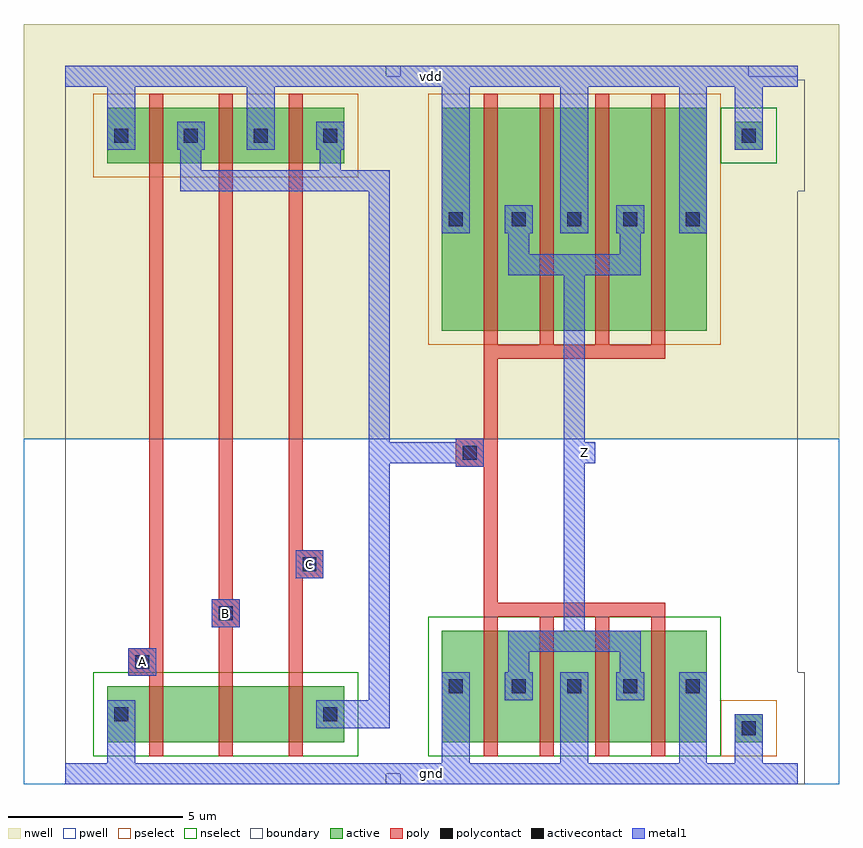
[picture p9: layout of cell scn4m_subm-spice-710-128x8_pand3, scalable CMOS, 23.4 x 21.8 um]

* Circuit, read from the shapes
.subckt scn4m_subm-spice-710-128x8_pand3 A B C Z gnd vdd
M1 scn4m_subm-spice-710-128x8_pnand3_0_0/scn4m_subm-spice-710-128x8_nmos_m1_w1_600_sm1_dactive_3/D A gnd gnd nfet w=1.6u l=0.4u
M2 scn4m_subm-spice-710-128x8_pnand3_0_0/scn4m_subm-spice-710-128x8_nmos_m1_w1_600_sactive_dactive_4/D B scn4m_subm-spice-710-128x8_pnand3_0_0/scn4m_subm-spice-710-128x8_nmos_m1_w1_600_sm1_dactive_3/D gnd nfet w=1.6u l=0.4u
M3 scn4m_subm-spice-710-128x8_pdriver_3_1/A C scn4m_subm-spice-710-128x8_pnand3_0_0/scn4m_subm-spice-710-128x8_nmos_m1_w1_600_sactive_dactive_4/D gnd nfet w=1.6u l=0.4u
M4 Z scn4m_subm-spice-710-128x8_pdriver_3_1/A gnd gnd nfet w=3.2u l=0.4u m=4
M5 scn4m_subm-spice-710-128x8_pdriver_3_1/A A vdd vdd pfet w=1.6u l=0.4u
M6 vdd B scn4m_subm-spice-710-128x8_pdriver_3_1/A vdd pfet w=1.6u l=0.4u
M7 scn4m_subm-spice-710-128x8_pdriver_3_1/A C vdd vdd pfet w=1.6u l=0.4u
M8 Z scn4m_subm-spice-710-128x8_pdriver_3_1/A vdd vdd pfet w=6.4u l=0.4u m=4
.ends

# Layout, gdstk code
import gdstk
lib = gdstk.Library(unit=1e-6, precision=1e-09)
def R(c, l, rs):  # rectangles x0, y0, x1, y1
    for r in rs: c.add(gdstk.rectangle(r[:2], r[2:], *l))
def A(c, l, x, y, w, h, nx, ny, dx, dy):  # array of equal rectangles
    R(c, l, [(x+i*dx, y+j*dy, x+i*dx+w, y+j*dy+h) for i in range(nx) for j in range(ny)])
pwell = (41, 0)
nwell = (42, 0)
active = (43, 0)
pselect = (44, 0)
nselect = (45, 0)
poly = (46, 0)
polycontact = (47, 0)
activecontact = (48, 0)
metal1 = (49, 0)
boundary = (63, 0)

scn4m_subm_spice_710_128 = lib.new_cell('scn4m_subm-spice-710-128x8_contact_12')
R(scn4m_subm_spice_710_128, nwell, [(-1.2,-1.2,2,2)])
R(scn4m_subm_spice_710_128, active, [(0,0,0.8,0.8)])
R(scn4m_subm_spice_710_128, pselect, [(-0.4,-0.4,1.2,1.2)])
R(scn4m_subm_spice_710_128, activecontact, [(0.2,0.2,0.6,0.6)])
R(scn4m_subm_spice_710_128, metal1, [(0,0,0.8,0.8)])
R(scn4m_subm_spice_710_128, boundary, [(-1.2,-1.2,2,2)])

c_scn4m_subm_spice_710_128 = lib.new_cell('scn4m_subm-spice-710-128x8_pmos_m1_w1_600_sm1_dm1')
R(c_scn4m_subm_spice_710_128, nwell, [(-1.2,-1.2,4,2.8)])
R(c_scn4m_subm_spice_710_128, active, [(0,0,2.8,1.6)])
R(c_scn4m_subm_spice_710_128, pselect, [(-0.4,-0.4,3.2,2)])
R(c_scn4m_subm_spice_710_128, poly, [(1.2,-0.4,1.6,2), (1.2,-0.4,1.6,2)])
R(c_scn4m_subm_spice_710_128, metal1, [(0,0.4,0.8,1.2), (2,0.4,2.8,1.2)])
R(c_scn4m_subm_spice_710_128, boundary, [(-1.2,-1.2,4,2.8)])
c_scn4m_subm_spice_710_128.add(gdstk.Reference(scn4m_subm_spice_710_128, (0,0.4)))
c_scn4m_subm_spice_710_128.add(gdstk.Reference(scn4m_subm_spice_710_128, (2,0.4)))
c_scn4m_subm_spice_710_128.add(gdstk.Label('G', (1.4,0.8), layer=46, texttype=0))
c_scn4m_subm_spice_710_128.add(gdstk.Label('S', (0.4,0.8), layer=49, texttype=0))
c_scn4m_subm_spice_710_128.add(gdstk.Label('D', (2.4,0.8), layer=49, texttype=0))

c_scn4m_subm_spice_710_128_ = lib.new_cell('scn4m_subm-spice-710-128x8_contact_11')
R(c_scn4m_subm_spice_710_128_, pwell, [(-1.2,-1.2,2,2)])
R(c_scn4m_subm_spice_710_128_, active, [(0,0,0.8,0.8)])
R(c_scn4m_subm_spice_710_128_, nselect, [(-0.4,-0.4,1.2,1.2)])
R(c_scn4m_subm_spice_710_128_, activecontact, [(0.2,0.2,0.6,0.6)])
R(c_scn4m_subm_spice_710_128_, metal1, [(0,0,0.8,0.8)])
R(c_scn4m_subm_spice_710_128_, boundary, [(-1.2,-1.2,2,2)])

c_scn4m_subm_spice_710_128__ = lib.new_cell('scn4m_subm-spice-710-128x8_nmos_m1_w1_600_sm1_dactive')
R(c_scn4m_subm_spice_710_128__, pwell, [(-1.2,-1.2,4,2.8)])
R(c_scn4m_subm_spice_710_128__, active, [(0,0,2.8,1.6), (2.1,0.5,2.7,1.1)])
R(c_scn4m_subm_spice_710_128__, nselect, [(-0.4,-0.4,3.2,2)])
R(c_scn4m_subm_spice_710_128__, poly, [(1.2,-0.4,1.6,2), (1.2,-0.4,1.6,2)])
R(c_scn4m_subm_spice_710_128__, metal1, [(0,0.4,0.8,1.2)])
R(c_scn4m_subm_spice_710_128__, boundary, [(-1.2,-1.2,4,2.8)])
c_scn4m_subm_spice_710_128__.add(gdstk.Reference(c_scn4m_subm_spice_710_128_, (0,0.4)))
c_scn4m_subm_spice_710_128__.add(gdstk.Label('G', (1.4,0.8), layer=46, texttype=0))
c_scn4m_subm_spice_710_128__.add(gdstk.Label('S', (0.4,0.8), layer=49, texttype=0))
c_scn4m_subm_spice_710_128__.add(gdstk.Label('D', (2.4,0.8), layer=43, texttype=0))

c_scn4m_subm_spice_710_128___ = lib.new_cell('scn4m_subm-spice-710-128x8_nmos_m1_w1_600_sactive_dactive')
R(c_scn4m_subm_spice_710_128___, pwell, [(-1.2,-1.2,4,2.8)])
R(c_scn4m_subm_spice_710_128___, active, [(0,0,2.8,1.6), (0.1,0.5,0.7,1.1), (2.1,0.5,2.7,1.1)])
R(c_scn4m_subm_spice_710_128___, nselect, [(-0.4,-0.4,3.2,2)])
R(c_scn4m_subm_spice_710_128___, poly, [(1.2,-0.4,1.6,2), (1.2,-0.4,1.6,2)])
R(c_scn4m_subm_spice_710_128___, boundary, [(-1.2,-1.2,4,2.8)])
c_scn4m_subm_spice_710_128___.add(gdstk.Label('G', (1.4,0.8), layer=46, texttype=0))
c_scn4m_subm_spice_710_128___.add(gdstk.Label('S', (0.4,0.8), layer=43, texttype=0))
c_scn4m_subm_spice_710_128___.add(gdstk.Label('D', (2.4,0.8), layer=43, texttype=0))

c_scn4m_subm_spice_710_128____ = lib.new_cell('scn4m_subm-spice-710-128x8_nmos_m1_w1_600_sactive_dm1')
R(c_scn4m_subm_spice_710_128____, pwell, [(-1.2,-1.2,4,2.8)])
R(c_scn4m_subm_spice_710_128____, active, [(0,0,2.8,1.6), (0.1,0.5,0.7,1.1)])
R(c_scn4m_subm_spice_710_128____, nselect, [(-0.4,-0.4,3.2,2)])
R(c_scn4m_subm_spice_710_128____, poly, [(1.2,-0.4,1.6,2), (1.2,-0.4,1.6,2)])
R(c_scn4m_subm_spice_710_128____, metal1, [(2,0.4,2.8,1.2)])
R(c_scn4m_subm_spice_710_128____, boundary, [(-1.2,-1.2,4,2.8)])
c_scn4m_subm_spice_710_128____.add(gdstk.Reference(c_scn4m_subm_spice_710_128_, (2,0.4)))
c_scn4m_subm_spice_710_128____.add(gdstk.Label('G', (1.4,0.8), layer=46, texttype=0))
c_scn4m_subm_spice_710_128____.add(gdstk.Label('S', (0.4,0.8), layer=43, texttype=0))
c_scn4m_subm_spice_710_128____.add(gdstk.Label('D', (2.4,0.8), layer=49, texttype=0))

c_scn4m_subm_spice_710_128_____ = lib.new_cell('scn4m_subm-spice-710-128x8_contact_15')
R(c_scn4m_subm_spice_710_128_____, poly, [(0,0,0.8,0.8)])
R(c_scn4m_subm_spice_710_128_____, polycontact, [(0.2,0.2,0.6,0.6)])
R(c_scn4m_subm_spice_710_128_____, metal1, [(0,0,0.8,0.8)])
R(c_scn4m_subm_spice_710_128_____, boundary, [(0,0,0.8,0.8)])

c_scn4m_subm_spice_710_128______ = lib.new_cell('scn4m_subm-spice-710-128x8_pnand3_0')
R(c_scn4m_subm_spice_710_128______, pwell, [(-1.2,-0.3,10.8,9.6)])
R(c_scn4m_subm_spice_710_128______, nwell, [(-1.2,9.6,10.8,21.5)])
A(c_scn4m_subm_spice_710_128______, poly, 2.4, 2.9, 0.4, 14.2, 3, 1, 2, 0)
R(c_scn4m_subm_spice_710_128______, poly, [(2.2,2.8,2.4,3.6), (4.4,4.2,4.6,5), (6.4,5.6,7,6.4)])
R(c_scn4m_subm_spice_710_128______, metal1, [(0,-0.3,9.6,0.3), (1.2,-0.3,2,1.3), (7.6,1.3,9,2.1), (8.7,1.3,9.3,17), (1.8,2.8,2.6,3.6), (4.2,4.2,5,5), (6.6,5.6,7.4,6.4), (3.3,16.7,3.9,17.3), (3.6,16.7,9,17.3), (7.3,16.7,7.9,17.3), (7.6,16.7,9,17.3), (8.7,16.7,9.3,17.3), (3.3,17,3.9,18.3), (7.3,17,7.9,18.3), (1.2,17.9,2,20.3), (5.2,17.9,6,20.3), (0,19.7,9.6,20.3)])
R(c_scn4m_subm_spice_710_128______, boundary, [(0,0,9.6,20), (0,0,9.6,20)])
c_scn4m_subm_spice_710_128______.add(gdstk.Reference(c_scn4m_subm_spice_710_128, (1.2,17.5)))
c_scn4m_subm_spice_710_128______.add(gdstk.Reference(c_scn4m_subm_spice_710_128, (3.2,17.5)))
c_scn4m_subm_spice_710_128______.add(gdstk.Reference(c_scn4m_subm_spice_710_128, (5.2,17.5)))
c_scn4m_subm_spice_710_128______.add(gdstk.Reference(c_scn4m_subm_spice_710_128__, (1.2,0.9)))
c_scn4m_subm_spice_710_128______.add(gdstk.Reference(c_scn4m_subm_spice_710_128___, (3.2,0.9)))
c_scn4m_subm_spice_710_128______.add(gdstk.Reference(c_scn4m_subm_spice_710_128____, (5.2,0.9)))
c_scn4m_subm_spice_710_128______.add(gdstk.Reference(c_scn4m_subm_spice_710_128_____, (1.8,2.8)))
c_scn4m_subm_spice_710_128______.add(gdstk.Reference(c_scn4m_subm_spice_710_128_____, (4.2,4.2)))
c_scn4m_subm_spice_710_128______.add(gdstk.Reference(c_scn4m_subm_spice_710_128_____, (6.6,5.6)))
c_scn4m_subm_spice_710_128______.add(gdstk.Label('A', (2.2,3.2), layer=49, texttype=0))
c_scn4m_subm_spice_710_128______.add(gdstk.Label('B', (4.6,4.6), layer=49, texttype=0))
c_scn4m_subm_spice_710_128______.add(gdstk.Label('C', (7,6), layer=49, texttype=0))
c_scn4m_subm_spice_710_128______.add(gdstk.Label('Z', (9,17), layer=49, texttype=0))
c_scn4m_subm_spice_710_128______.add(gdstk.Label('gnd', (4.8,0), layer=49, texttype=0))
c_scn4m_subm_spice_710_128______.add(gdstk.Label('vdd', (4.8,20), layer=49, texttype=0))

c_scn4m_subm_spice_710_128_______ = lib.new_cell('scn4m_subm-spice-710-128x8_pmos_m4_w6_400_sm1_dm1_da_p')
R(c_scn4m_subm_spice_710_128_______, nwell, [(-1.2,-1.2,8.8,7.6)])
R(c_scn4m_subm_spice_710_128_______, active, [(0,0,7.6,6.4)])
R(c_scn4m_subm_spice_710_128_______, pselect, [(-0.4,-0.4,8,6.8)])
A(c_scn4m_subm_spice_710_128_______, poly, 1.2, -0.4, 0.4, 7.2, 4, 1, 1.6, 0)
R(c_scn4m_subm_spice_710_128_______, poly, [(1.2,-0.8,6.4,-0.4)])
A(c_scn4m_subm_spice_710_128_______, metal1, 0, 2.8, 0.8, 0.8, 3, 1, 3.4, 0)
R(c_scn4m_subm_spice_710_128_______, metal1, [(1.9,1.6,5.7,2.2), (1.9,1.9,2.5,3.2), (5.1,1.9,5.7,3.2)])
R(c_scn4m_subm_spice_710_128_______, boundary, [(-1.2,-1.2,8.8,7.6)])
c_scn4m_subm_spice_710_128_______.add(gdstk.Reference(scn4m_subm_spice_710_128, (0,2.8)))
c_scn4m_subm_spice_710_128_______.add(gdstk.Reference(scn4m_subm_spice_710_128, (1.8,2.8)))
c_scn4m_subm_spice_710_128_______.add(gdstk.Reference(scn4m_subm_spice_710_128, (3.4,2.8)))
c_scn4m_subm_spice_710_128_______.add(gdstk.Reference(scn4m_subm_spice_710_128, (5,2.8)))
c_scn4m_subm_spice_710_128_______.add(gdstk.Reference(scn4m_subm_spice_710_128, (6.8,2.8)))
c_scn4m_subm_spice_710_128_______.add(gdstk.Label('G', (3.8,-0.6), layer=46, texttype=0))
c_scn4m_subm_spice_710_128_______.add(gdstk.Label('S', (0.4,3.2), layer=49, texttype=0))
c_scn4m_subm_spice_710_128_______.add(gdstk.Label('S', (3.8,3.2), layer=49, texttype=0))
c_scn4m_subm_spice_710_128_______.add(gdstk.Label('S', (7.2,3.2), layer=49, texttype=0))
c_scn4m_subm_spice_710_128_______.add(gdstk.Label('D', (3.8,1.9), layer=49, texttype=0))

c_scn4m_subm_spice_710_128________ = lib.new_cell('scn4m_subm-spice-710-128x8_nmos_m4_w3_200_sm1_dm1_da_p')
R(c_scn4m_subm_spice_710_128________, pwell, [(-1.2,-1.2,8.8,4.4)])
R(c_scn4m_subm_spice_710_128________, active, [(0,0,7.6,3.2)])
R(c_scn4m_subm_spice_710_128________, nselect, [(-0.4,-0.4,8,3.6)])
A(c_scn4m_subm_spice_710_128________, poly, 1.2, -0.4, 0.4, 4, 4, 1, 1.6, 0)
R(c_scn4m_subm_spice_710_128________, poly, [(1.2,3.6,6.4,4)])
A(c_scn4m_subm_spice_710_128________, metal1, 0, 1.2, 0.8, 0.8, 3, 1, 3.4, 0)
R(c_scn4m_subm_spice_710_128________, metal1, [(1.9,1.6,2.5,2.9), (5.1,1.6,5.7,2.9), (1.9,2.6,5.7,3.2)])
R(c_scn4m_subm_spice_710_128________, boundary, [(-1.2,-1.2,8.8,4.4)])
c_scn4m_subm_spice_710_128________.add(gdstk.Reference(c_scn4m_subm_spice_710_128_, (0,1.2)))
c_scn4m_subm_spice_710_128________.add(gdstk.Reference(c_scn4m_subm_spice_710_128_, (1.8,1.2)))
c_scn4m_subm_spice_710_128________.add(gdstk.Reference(c_scn4m_subm_spice_710_128_, (3.4,1.2)))
c_scn4m_subm_spice_710_128________.add(gdstk.Reference(c_scn4m_subm_spice_710_128_, (5,1.2)))
c_scn4m_subm_spice_710_128________.add(gdstk.Reference(c_scn4m_subm_spice_710_128_, (6.8,1.2)))
c_scn4m_subm_spice_710_128________.add(gdstk.Label('G', (3.8,3.8), layer=46, texttype=0))
c_scn4m_subm_spice_710_128________.add(gdstk.Label('S', (0.4,1.6), layer=49, texttype=0))
c_scn4m_subm_spice_710_128________.add(gdstk.Label('S', (7.2,1.6), layer=49, texttype=0))
c_scn4m_subm_spice_710_128________.add(gdstk.Label('S', (3.8,1.6), layer=49, texttype=0))
c_scn4m_subm_spice_710_128________.add(gdstk.Label('D', (3.8,2.9), layer=49, texttype=0))

c_scn4m_subm_spice_710_128_________ = lib.new_cell('scn4m_subm-spice-710-128x8_contact_13')
R(c_scn4m_subm_spice_710_128_________, nwell, [(-1.2,-1.2,2,2)])
R(c_scn4m_subm_spice_710_128_________, active, [(0,0,0.8,0.8)])
R(c_scn4m_subm_spice_710_128_________, nselect, [(-0.4,-0.4,1.2,1.2)])
R(c_scn4m_subm_spice_710_128_________, activecontact, [(0.2,0.2,0.6,0.6)])
R(c_scn4m_subm_spice_710_128_________, metal1, [(0,0,0.8,0.8)])
R(c_scn4m_subm_spice_710_128_________, boundary, [(-1.2,-1.2,2,2)])

c_scn4m_subm_spice_710_128__________ = lib.new_cell('scn4m_subm-spice-710-128x8_contact_14')
R(c_scn4m_subm_spice_710_128__________, pwell, [(-1.2,-1.2,2,2)])
R(c_scn4m_subm_spice_710_128__________, active, [(0,0,0.8,0.8)])
R(c_scn4m_subm_spice_710_128__________, pselect, [(-0.4,-0.4,1.2,1.2)])
R(c_scn4m_subm_spice_710_128__________, activecontact, [(0.2,0.2,0.6,0.6)])
R(c_scn4m_subm_spice_710_128__________, metal1, [(0,0,0.8,0.8)])
R(c_scn4m_subm_spice_710_128__________, boundary, [(-1.2,-1.2,2,2)])

c_scn4m_subm_spice_710_128___________ = lib.new_cell('scn4m_subm-spice-710-128x8_pinv_13')
R(c_scn4m_subm_spice_710_128___________, pwell, [(-1.2,-0.3,12.6,9.6)])
R(c_scn4m_subm_spice_710_128___________, nwell, [(-1.2,9.6,12.6,21.5)])
R(c_scn4m_subm_spice_710_128___________, poly, [(2.4,4.9,2.8,11.9), (2,8.8,2.4,9.6)])
A(c_scn4m_subm_spice_710_128___________, metal1, 1.2, -0.3, 0.8, 2.4, 3, 1, 3.4, 0)
A(c_scn4m_subm_spice_710_128___________, metal1, 1.2, 15.5, 0.8, 4.8, 3, 1, 3.4, 0)
R(c_scn4m_subm_spice_710_128___________, metal1, [(0,-0.3,11.4,0.3), (9.6,0,10.4,1.3), (4.7,3.5,5.3,14.9), (1.6,8.8,2.4,9.6), (5,8.9,5.6,9.5), (9.6,18.3,10.4,20), (0,19.7,11.4,20.3)])
R(c_scn4m_subm_spice_710_128___________, boundary, [(0,0,11.4,20), (0,0,11.4,20)])
c_scn4m_subm_spice_710_128___________.add(gdstk.Reference(c_scn4m_subm_spice_710_128_______, (1.2,12.7)))
c_scn4m_subm_spice_710_128___________.add(gdstk.Reference(c_scn4m_subm_spice_710_128________, (1.2,0.9)))
c_scn4m_subm_spice_710_128___________.add(gdstk.Reference(c_scn4m_subm_spice_710_128_________, (9.6,17.9)))
c_scn4m_subm_spice_710_128___________.add(gdstk.Reference(c_scn4m_subm_spice_710_128__________, (9.6,0.9)))
c_scn4m_subm_spice_710_128___________.add(gdstk.Reference(c_scn4m_subm_spice_710_128_____, (1.6,8.8)))
c_scn4m_subm_spice_710_128___________.add(gdstk.Label('A', (2,9.2), layer=49, texttype=0))
c_scn4m_subm_spice_710_128___________.add(gdstk.Label('Z', (5.3,9.2), layer=49, texttype=0))
c_scn4m_subm_spice_710_128___________.add(gdstk.Label('gnd', (5.7,0), layer=49, texttype=0))
c_scn4m_subm_spice_710_128___________.add(gdstk.Label('vdd', (5.7,20), layer=49, texttype=0))

c_scn4m_subm_spice_710_128____________ = lib.new_cell('scn4m_subm-spice-710-128x8_pdriver_3')
R(c_scn4m_subm_spice_710_128____________, pwell, [(-1.2,-0.3,12.6,9.6)])
R(c_scn4m_subm_spice_710_128____________, nwell, [(-1.2,9.6,12.6,21.5)])
R(c_scn4m_subm_spice_710_128____________, metal1, [(0,-0.3,11.4,0.3), (1.6,8.8,2.4,9.6), (5,8.9,5.6,9.5), (0,19.7,11.4,20.3)])
R(c_scn4m_subm_spice_710_128____________, boundary, [(0,0,11.4,20), (0,0,11.4,20)])
c_scn4m_subm_spice_710_128____________.add(gdstk.Reference(c_scn4m_subm_spice_710_128___________, (0,0)))
c_scn4m_subm_spice_710_128____________.add(gdstk.Label('Z', (5.3,9.2), layer=49, texttype=0))
c_scn4m_subm_spice_710_128____________.add(gdstk.Label('A', (2,9.2), layer=49, texttype=0))
c_scn4m_subm_spice_710_128____________.add(gdstk.Label('gnd', (5.7,0), layer=49, texttype=0))
c_scn4m_subm_spice_710_128____________.add(gdstk.Label('vdd', (5.7,20), layer=49, texttype=0))

c_scn4m_subm_spice_710_128_____________ = lib.new_cell('scn4m_subm-spice-710-128x8_pand3')
R(c_scn4m_subm_spice_710_128_____________, metal1, [(0,-0.3,21,0.3), (1.8,2.8,2.6,3.6), (4.2,4.2,5,5), (6.6,5.6,7.4,6.4), (8.7,8.9,9.3,9.5), (9,8.9,11.6,9.5), (14.6,8.9,15.2,9.5), (8.7,9.2,9.3,17), (0,19.7,21,20.3)])
R(c_scn4m_subm_spice_710_128_____________, boundary, [(0,0,21,20), (0,0,21,20)])
c_scn4m_subm_spice_710_128_____________.add(gdstk.Reference(c_scn4m_subm_spice_710_128______, (0,0)))
c_scn4m_subm_spice_710_128_____________.add(gdstk.Reference(c_scn4m_subm_spice_710_128____________, (9.6,0)))
c_scn4m_subm_spice_710_128_____________.add(gdstk.Label('Z', (14.9,9.2), layer=49, texttype=0))
c_scn4m_subm_spice_710_128_____________.add(gdstk.Label('A', (2.2,3.2), layer=49, texttype=0))
c_scn4m_subm_spice_710_128_____________.add(gdstk.Label('B', (4.6,4.6), layer=49, texttype=0))
c_scn4m_subm_spice_710_128_____________.add(gdstk.Label('C', (7,6), layer=49, texttype=0))
c_scn4m_subm_spice_710_128_____________.add(gdstk.Label('gnd', (10.5,0), layer=49, texttype=0))
c_scn4m_subm_spice_710_128_____________.add(gdstk.Label('vdd', (10.5,20), layer=49, texttype=0))

lib.write_gds('scn4m_subm-spice-710-128x8_pand3.gds')
